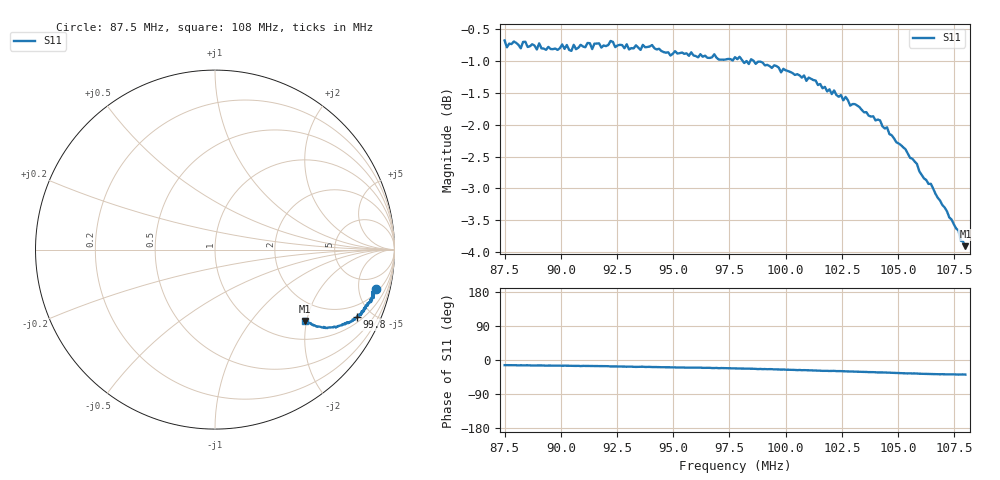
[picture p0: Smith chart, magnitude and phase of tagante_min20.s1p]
!Agilent Technologies,N5225A,MY51441201,A.09.90.19
!Agilent N5225A: A.09.90.19
!Date: Thursday, May 17, 2018 16:01:11
!Correction: S11(Full 1 Port(1))
!S1P File: Measurement: S11:
# Hz S  dB  R 50
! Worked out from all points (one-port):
!   201 points, 87.5 MHz to 108 MHz, reference 50 ohm
!   lowest |S11| = -3.9 dB at 108 MHz (marker M1), VSWR 4.52, Z = 72.6 - j97.1 ohm
!   |S11| at or under -10 dB: nowhere
!   S11 on the Smith chart (normalised r, x): 87.5 MHz: 2.51, -7.57; 99.8 MHz: 1.29, -4.06; 108 MHz: 1.45, -1.94
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8.75e7  -0.68 -13.6
8.76025e7  -0.78 -13.6
8.791e7  -0.69 -13.8
8.82175e7  -0.80 -13.9
8.84225e7  -0.69 -13.9
8.914e7  -0.80 -14.3
8.9345e7  -0.82 -15.0
8.96525e7  -0.81 -14.6
9.00625e7  -0.74 -15.2
9.04725e7  -0.84 -15.3
9.119e7  -0.72 -15.9
9.1395e7  -0.81 -15.9
9.2625e7  -0.74 -17.3
9.35475e7  -0.82 -18.1
9.365e7  -0.74 -17.7
9.51875e7  -0.88 -19.8
9.66225e7  -0.95 -20.6
9.775e7  -0.94 -22.1
9.9595e7  -1.08 -24.7
9.98e7  -1.18 -25.4
1.003125e8  -1.19 -26.0
1.02055e8  -1.52 -28.9
1.021575e8  -1.46 -28.7
1.02875e8  -1.70 -30.3
1.042075e8  -1.93 -32.7
1.054375e8  -2.45 -35.4
1.064625e8  -2.93 -37.0
1.08e8  -3.91 -38.5
